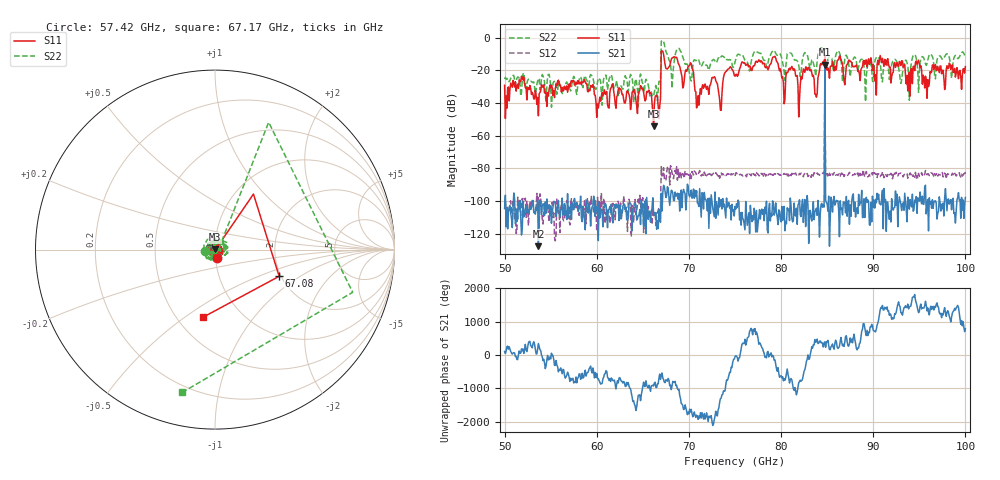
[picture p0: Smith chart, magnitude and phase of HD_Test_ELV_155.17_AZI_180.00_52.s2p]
! 11/25/2026 9:29:07 AM
! C:\ANRITSUVNA\TEMP\TEMP.S2P
! CHANNEL.1
! TR.MEASUREMENT
! RAW.DATA
# HZ S RI R 50.0
! FREQ.HZ  S11RE  S11IM  S21RE  S21IM  S12RE  S12IM  S22RE  S22IM
!; PortSelection: Port_12
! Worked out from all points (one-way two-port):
!   601 points, 50 GHz to 100 GHz, reference 50 ohm
!   highest |S21| = -16.58 dB at 84.75 GHz (marker M1); lowest = -127.7 dB at 53.67 GHz (marker M2)
!   lowest |S11| = -54.3 dB at 66.17 GHz (marker M3), VSWR 1.00, Z = 50.1 + j0.148 ohm
!   |S11| at or under -10 dB: start of sweep to 67 GHz; 67.24 GHz to end of sweep
!   |S22| runs from -42.6 to -1.8 dB; largest |S21 - S12| = 0.17
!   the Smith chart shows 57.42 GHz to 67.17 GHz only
!   S11 on the Smith chart (normalised r, x): 57.42 GHz: 1.02, -0.10; 67.08 GHz: 1.95, -0.68; 67.17 GHz: 0.67, -0.59
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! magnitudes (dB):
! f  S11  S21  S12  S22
! 50 GHz  -29.2  -104.7  -99.8  -25.4
! 51.83 GHz  -23.6  -120.9  -101.5  -33.7
! 53.67 GHz  -47.9  -127.7  -97.8  -24.9
! 57.42 GHz  -26.3  -102.4  -105.4  -25.2
! 58.42 GHz  -27.2  -112.7  -104.6  -29.0
! 60.17 GHz  -43.1  -124.3  -108.2  -24.8
! 66.17 GHz  -54.3  -108.6  -109.0  -35.4
! 66.67 GHz  -42.0  -116.9  -105.5  -32.2
! 67.08 GHz  -8.2  -106.2  -84.8  -1.9
! 67.17 GHz  -8.4  -94.8  -84.1  -1.8
! 70.17 GHz  -15.4  -96.0  -83.4  -25.7
! 70.92 GHz  -40.8  -101.2  -84.1  -13.3
! 75 GHz  -23.7  -103.4  -84.8  -15.0
! 79.25 GHz  -11.8  -108.7  -83.5  -7.9
! 80.25 GHz  -27.6  -105.3  -83.6  -17.6
! 83.42 GHz  -23.8  -107.1  -85.6  -13.6
! 84.75 GHz  -11.4  -16.6  -32.1  -11.1
! 91.67 GHz  -16.7  -108.0  -82.9  -20.4
! 93.75 GHz  -32.7  -97.7  -86.1  -17.2
! 94.83 GHz  -15.0  -98.0  -85.8  -20.3
! 95.83 GHz  -37.2  -102.1  -84.0  -15.9
! 100 GHz  -17.7  -97.9  -83.4  -12.1
